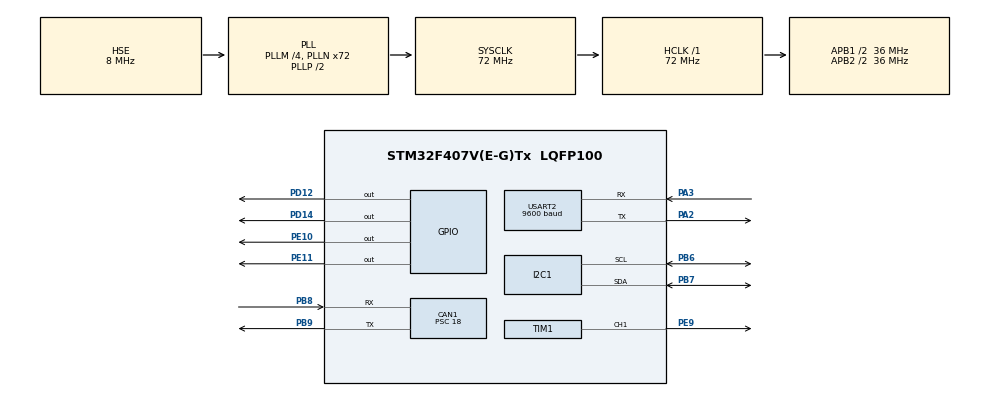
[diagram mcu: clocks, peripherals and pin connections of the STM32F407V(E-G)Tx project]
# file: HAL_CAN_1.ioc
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CAN1.BS1=CAN_BS1_2TQ
CAN1.CalculateBaudRate=500000
CAN1.CalculateTimeBit=2000
CAN1.CalculateTimeQuantum=500.0
CAN1.Prescaler=18
Mcu.Family=STM32F4
Mcu.Name=STM32F407V(E-G)Tx
Mcu.Package=LQFP100
NVIC.CAN1_RX0_IRQn=true\:0\:0\:false\:false\:true\:true\:true\:true
NVIC.PriorityGroup=NVIC_PRIORITYGROUP_0
PA2.Mode=Asynchronous
PA2.Signal=USART2_TX
PA3.Mode=Asynchronous
PA3.Signal=USART2_RX
PB6.Mode=I2C
PB6.Signal=I2C1_SCL
PB7.Mode=I2C
PB7.Signal=I2C1_SDA
PB8.Mode=CAN_Activate
PB8.Signal=CAN1_RX
PB9.Mode=CAN_Activate
PB9.Signal=CAN1_TX
PD12.Signal=GPIO_Output
PD14.Signal=GPIO_Output
PE10.Signal=GPIO_Output
PE11.Signal=GPIO_Output
PE9.Signal=S_TIM1_CH1
PH0-OSC_IN.Mode=HSE-External-Oscillator
PH0-OSC_IN.Signal=RCC_OSC_IN
PH1-OSC_OUT.Mode=HSE-External-Oscillator
PH1-OSC_OUT.Signal=RCC_OSC_OUT
ProjectManager.HeapSize=0x200
ProjectManager.StackSize=0x400
ProjectManager.TargetToolchain=STM32CubeIDE
RCC.48MHZClocksFreq_Value=20571428.57142857
RCC.AHBFreq_Value=72000000
RCC.APB1CLKDivider=RCC_HCLK_DIV2
RCC.APB1Freq_Value=36000000
RCC.APB1TimFreq_Value=72000000
RCC.APB2CLKDivider=RCC_HCLK_DIV2
RCC.APB2Freq_Value=36000000
RCC.APB2TimFreq_Value=72000000
RCC.CortexFreq_Value=72000000
RCC.HCLKFreq_Value=72000000
RCC.HSE_VALUE=8000000
RCC.HSI_VALUE=16000000
RCC.LSE_VALUE=32768
RCC.PLLM=4
RCC.PLLN=72
RCC.PLLQ=7
RCC.PLLSourceVirtual=RCC_PLLSOURCE_HSE
RCC.SYSCLKFreq_VALUE=72000000
RCC.SYSCLKSource=RCC_SYSCLKSOURCE_PLLCLK
RCC.VCOOutputFreq_Value=144000000
SH.S_TIM1_CH1.0=TIM1_CH1,PWM Generation1 CH1
TIM1.AutoReloadPreload=TIM_AUTORELOAD_PRELOAD_ENABLE
TIM1.Channel-PWM\ Generation1\ CH1=TIM_CHANNEL_1
TIM1.Period=100-1
TIM1.Prescaler=16-1
USART2.BaudRate=9600
USART2.VirtualMode=VM_ASYNC
board=STM32F407G-DISC1

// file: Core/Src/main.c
/* USER CODE BEGIN Header */
/**
  ******************************************************************************
  * @file           : main.c
  * @brief          : Main program body
  ******************************************************************************
  * @attention
  *
  * Copyright (c) 2024 STMicroelectronics.
  * All rights reserved.
  *
  * This software is licensed under terms that can be found in the LICENSE file
  * in the root directory of this software component.
  * If no LICENSE file comes with this software, it is provided AS-IS.
  *
  ******************************************************************************
  */
/* USER CODE END Header */
#include "main.h"

/* USER CODE BEGIN Includes */
#include<stdio.h>
#include<string.h>
#include "lcd.h"

/* USER CODE END Includes */

/* USER CODE BEGIN PD */
#define FORWARD 1
#define BACKWARD 0
#define MIN_DIST 5
#define MAX_DIST 100
#define MIN_SPEED 70
#define MAX_SPEED 100
/* USER CODE END PD */

CAN_HandleTypeDef hcan1;

I2C_HandleTypeDef hi2c1;

TIM_HandleTypeDef htim1;

UART_HandleTypeDef huart2;

void SystemClock_Config(void);
static void MX_GPIO_Init(void);
static void MX_CAN1_Init(void);
static void MX_TIM1_Init(void);
static void MX_USART2_UART_Init(void);
static void MX_I2C1_Init(void);
/* USER CODE BEGIN PFP */
void MotorStart(uint16_t direction);
void MotorStop(void);
void SetMotorSpeed(uint16_t distance);
/* USER CODE END PFP */

/* USER CODE BEGIN 0 */
CAN_RxHeaderTypeDef RxHeader;
uint8_t RxData[8];
uint8_t is_data_received;
uint16_t distance;
uint16_t speed;

void HAL_CAN_RxFifo0MsgPendingCallback(CAN_HandleTypeDef *hcan)
{
	if(HAL_CAN_GetRxMessage(hcan, CAN_RX_FIFO0, &RxHeader, RxData) == HAL_OK)
	{
		// process the message
        if (RxHeader.DLC == 5) {
        	is_data_received = 1;
        }
	}
}

void SetMotorSpeed(uint16_t distance)
{
	speed = MIN_SPEED + ((distance - MIN_DIST) * (MAX_SPEED - MIN_SPEED) / (MAX_DIST - MIN_DIST));
	//speed = ((distance - MIN_DIST)/(MAX_DIST - MIN_DIST)) * 100;
	if(speed > MAX_SPEED)
	    speed = MAX_SPEED;
	//uint16_t pulsewidth  = (htim1.Init.Period + 1) * speed / 100;
	//__HAL_TIM_SET_COMPARE(&htim1, TIM_CHANNEL_1, speed);
	htim1.Instance->CCR1 = speed;
	MotorStart(FORWARD);
	HAL_Delay(3000);
}

void MotorStart(uint16_t direction)
{
	if(direction == FORWARD)
	{
		HAL_GPIO_WritePin(GPIOE, GPIO_PIN_10, GPIO_PIN_SET);
		HAL_GPIO_WritePin(GPIOE, GPIO_PIN_11, GPIO_PIN_RESET);
	}
	else if(direction == BACKWARD)
	{
		HAL_GPIO_WritePin(GPIOE, GPIO_PIN_10, GPIO_PIN_RESET);
		HAL_GPIO_WritePin(GPIOE, GPIO_PIN_11, GPIO_PIN_SET);
	}
}

void MotorStop(void)
{
	HAL_GPIO_WritePin(GPIOE, GPIO_PIN_10, GPIO_PIN_RESET);
	HAL_GPIO_WritePin(GPIOE, GPIO_PIN_11, GPIO_PIN_RESET);
}

/* USER CODE END 0 */

int main(void)
{

  /* USER CODE BEGIN 1 */
	 char str[64];
	 char *str2 = "This is UART\r\n";
  /* USER CODE END 1 */

  /* MCU Configuration--------------------------------------------------------*/

  /* Reset of all peripherals, Initializes the Flash interface and the Systick. */
  HAL_Init();

  /* Configure the system clock */
  SystemClock_Config();

  /* Initialize all configured peripherals */
  MX_GPIO_Init();
  MX_CAN1_Init();
  MX_TIM1_Init();
  MX_USART2_UART_Init();
  MX_I2C1_Init();

  /* USER CODE BEGIN 2 */
  HAL_CAN_Start(&hcan1);
  HAL_CAN_ActivateNotification(&hcan1, CAN_IT_RX_FIFO0_MSG_PENDING);
  HAL_TIM_PWM_Start(&htim1, TIM_CHANNEL_1);
  HAL_UART_Transmit(&huart2, (uint8_t *)str2, strlen(str2), HAL_MAX_DELAY);
  LcdInit();
  HAL_Delay(100);
  /* USER CODE END 2 */

  /* Infinite loop */
  while (1)
  {

    /* USER CODE BEGIN 3 */
	 if(is_data_received == 1)
	 {
		 HAL_GPIO_WritePin(GPIOD, GPIO_PIN_14, GPIO_PIN_RESET);
          HAL_GPIO_WritePin(GPIOD, GPIO_PIN_12, GPIO_PIN_SET);
          distance = (uint16_t)RxData[0] << 8 | (uint16_t)RxData[1];

          sprintf(str, "Distance : %d cm \r\n", distance);
      	  HAL_UART_Transmit(&huart2, (uint8_t *)str, strlen(str), HAL_MAX_DELAY);
      	  uint16_t adc_value= (uint16_t)RxData[4] << 8 | (uint16_t)RxData[3];
      	                   float voltage = (adc_value * 3.3f) / 4095.0f;
      	                   float temperature = voltage / 0.01f;
      	                   int temp_int = (int)(temperature * 100);  // e.g., 26.52°C → 2652
      	                   int whole = temp_int / 100;        // 26
      	                   int frac = temp_int % 100;
      	                   sprintf(str, "tempreture : %d  \r\n",whole);

      	                   HAL_UART_Transmit(&huart2, (uint8_t *)str, strlen(str), HAL_MAX_DELAY);

      	                   uint8_t rain =RxData[4];

      	                   if(rain==0)
      	                   {	  strcpy(str,"whether is rainy\r\n");
      	                   HAL_UART_Transmit(&huart2, (uint8_t *)str, strlen(str), HAL_MAX_DELAY);
      	                   }
      	                   else
      	                   {	  strcpy(str,"whether is clean\r\n");
      	                             HAL_UART_Transmit(&huart2, (uint8_t *)str, strlen(str), HAL_MAX_DELAY);
      	                             }
          if(distance > 100)
          {
        	  distance = 100;
        	  SetMotorSpeed(distance);
          }
          else if(distance <= 100 && distance > 5)
          {
        	  SetMotorSpeed(distance);
          }
          else
          {
        	  HAL_GPIO_WritePin(GPIOD, GPIO_PIN_12, GPIO_PIN_RESET);
        	  HAL_GPIO_WritePin(GPIOD, GPIO_PIN_14, GPIO_PIN_SET);
        	  MotorStop();
          }
          HAL_GPIO_WritePin(GPIOD, GPIO_PIN_12, GPIO_PIN_RESET);

          HAL_Delay(1000);
	 }
	 is_data_received = 0;
  }
  /* USER CODE END 3 */
}

void SystemClock_Config(void)
{
  RCC_OscInitTypeDef RCC_OscInitStruct = {0};
  RCC_ClkInitTypeDef RCC_ClkInitStruct = {0};

  /** Configure the main internal regulator output voltage
  */
  __HAL_RCC_PWR_CLK_ENABLE();
  __HAL_PWR_VOLTAGESCALING_CONFIG(PWR_REGULATOR_VOLTAGE_SCALE1);

  /** Initializes the RCC Oscillators according to the specified parameters
  * in the RCC_OscInitTypeDef structure.
  */
  RCC_OscInitStruct.OscillatorType = RCC_OSCILLATORTYPE_HSE;
  RCC_OscInitStruct.HSEState = RCC_HSE_ON;
  RCC_OscInitStruct.PLL.PLLState = RCC_PLL_ON;
  RCC_OscInitStruct.PLL.PLLSource = RCC_PLLSOURCE_HSE;
  RCC_OscInitStruct.PLL.PLLM = 4;
  RCC_OscInitStruct.PLL.PLLN = 72;
  RCC_OscInitStruct.PLL.PLLP = RCC_PLLP_DIV2;
  RCC_OscInitStruct.PLL.PLLQ = 7;
  if (HAL_RCC_OscConfig(&RCC_OscInitStruct) != HAL_OK)
  {
    Error_Handler();
  }

  /** Initializes the CPU, AHB and APB buses clocks
  */
  RCC_ClkInitStruct.ClockType = RCC_CLOCKTYPE_HCLK|RCC_CLOCKTYPE_SYSCLK
                              |RCC_CLOCKTYPE_PCLK1|RCC_CLOCKTYPE_PCLK2;
  RCC_ClkInitStruct.SYSCLKSource = RCC_SYSCLKSOURCE_PLLCLK;
  RCC_ClkInitStruct.AHBCLKDivider = RCC_SYSCLK_DIV1;
  RCC_ClkInitStruct.APB1CLKDivider = RCC_HCLK_DIV2;
  RCC_ClkInitStruct.APB2CLKDivider = RCC_HCLK_DIV2;

  if (HAL_RCC_ClockConfig(&RCC_ClkInitStruct, FLASH_LATENCY_2) != HAL_OK)
  {
    Error_Handler();
  }
}

static void MX_CAN1_Init(void)
{

  hcan1.Instance = CAN1;
  hcan1.Init.Prescaler = 18;
  hcan1.Init.Mode = CAN_MODE_NORMAL;
  hcan1.Init.SyncJumpWidth = CAN_SJW_1TQ;
  hcan1.Init.TimeSeg1 = CAN_BS1_2TQ;
  hcan1.Init.TimeSeg2 = CAN_BS2_1TQ;
  hcan1.Init.TimeTriggeredMode = DISABLE;
  hcan1.Init.AutoBusOff = DISABLE;
  hcan1.Init.AutoWakeUp = DISABLE;
  hcan1.Init.AutoRetransmission = DISABLE;
  hcan1.Init.ReceiveFifoLocked = DISABLE;
  hcan1.Init.TransmitFifoPriority = DISABLE;
  if (HAL_CAN_Init(&hcan1) != HAL_OK)
  {
    Error_Handler();
  }
  /* USER CODE BEGIN CAN1_Init 2 */
  CAN_FilterTypeDef FilterConfig;
  //FilterConfig.SlaveStartFilterBank = 9; // CAN1-0 to 8, CAN2-9 to 27
  FilterConfig.FilterActivation = CAN_FILTER_ENABLE;
  FilterConfig.FilterBank = 0; // Use any Filter from 0 to 8
  FilterConfig.FilterScale = CAN_FILTERSCALE_32BIT; // Use a 32-bit filter
  FilterConfig.FilterMode = CAN_FILTERMODE_IDMASK;
  FilterConfig.FilterMaskIdHigh = 0xFF00;
  FilterConfig.FilterMaskIdLow = 0x0000;
  FilterConfig.FilterIdHigh = 0x1500;
  FilterConfig.FilterIdLow = 0x0000;
  FilterConfig.FilterFIFOAssignment = CAN_RX_FIFO0;

  if(HAL_CAN_ConfigFilter(&hcan1, &FilterConfig) != HAL_OK)
	  Error_Handler();
  /* USER CODE END CAN1_Init 2 */

}

static void MX_I2C1_Init(void)
{

  hi2c1.Instance = I2C1;
  hi2c1.Init.ClockSpeed = 100000;
  hi2c1.Init.DutyCycle = I2C_DUTYCYCLE_2;
  hi2c1.Init.OwnAddress1 = 0;
  hi2c1.Init.AddressingMode = I2C_ADDRESSINGMODE_7BIT;
  hi2c1.Init.DualAddressMode = I2C_DUALADDRESS_DISABLE;
  hi2c1.Init.OwnAddress2 = 0;
  hi2c1.Init.GeneralCallMode = I2C_GENERALCALL_DISABLE;
  hi2c1.Init.NoStretchMode = I2C_NOSTRETCH_DISABLE;
  if (HAL_I2C_Init(&hi2c1) != HAL_OK)
  {
    Error_Handler();
  }

}

static void MX_TIM1_Init(void)
{

  TIM_MasterConfigTypeDef sMasterConfig = {0};
  TIM_OC_InitTypeDef sConfigOC = {0};
  TIM_BreakDeadTimeConfigTypeDef sBreakDeadTimeConfig = {0};

  htim1.Instance = TIM1;
  htim1.Init.Prescaler = 16-1;
  htim1.Init.CounterMode = TIM_COUNTERMODE_UP;
  htim1.Init.Period = 100-1;
  htim1.Init.ClockDivision = TIM_CLOCKDIVISION_DIV1;
  htim1.Init.RepetitionCounter = 0;
  htim1.Init.AutoReloadPreload = TIM_AUTORELOAD_PRELOAD_ENABLE;
  if (HAL_TIM_PWM_Init(&htim1) != HAL_OK)
  {
    Error_Handler();
  }
  sMasterConfig.MasterOutputTrigger = TIM_TRGO_RESET;
  sMasterConfig.MasterSlaveMode = TIM_MASTERSLAVEMODE_DISABLE;
  if (HAL_TIMEx_MasterConfigSynchronization(&htim1, &sMasterConfig) != HAL_OK)
  {
    Error_Handler();
  }
  sConfigOC.OCMode = TIM_OCMODE_PWM1;
  sConfigOC.Pulse = 0;
  sConfigOC.OCPolarity = TIM_OCPOLARITY_HIGH;
  sConfigOC.OCNPolarity = TIM_OCNPOLARITY_HIGH;
  sConfigOC.OCFastMode = TIM_OCFAST_DISABLE;
  sConfigOC.OCIdleState = TIM_OCIDLESTATE_RESET;
  sConfigOC.OCNIdleState = TIM_OCNIDLESTATE_RESET;
  if (HAL_TIM_PWM_ConfigChannel(&htim1, &sConfigOC, TIM_CHANNEL_1) != HAL_OK)
  {
    Error_Handler();
  }
  sBreakDeadTimeConfig.OffStateRunMode = TIM_OSSR_DISABLE;
  sBreakDeadTimeConfig.OffStateIDLEMode = TIM_OSSI_DISABLE;
  sBreakDeadTimeConfig.LockLevel = TIM_LOCKLEVEL_OFF;
  sBreakDeadTimeConfig.DeadTime = 0;
  sBreakDeadTimeConfig.BreakState = TIM_BREAK_DISABLE;
  sBreakDeadTimeConfig.BreakPolarity = TIM_BREAKPOLARITY_HIGH;
  sBreakDeadTimeConfig.AutomaticOutput = TIM_AUTOMATICOUTPUT_DISABLE;
  if (HAL_TIMEx_ConfigBreakDeadTime(&htim1, &sBreakDeadTimeConfig) != HAL_OK)
  {
    Error_Handler();
  }
  HAL_TIM_MspPostInit(&htim1);

}

static void MX_USART2_UART_Init(void)
{

  huart2.Instance = USART2;
  huart2.Init.BaudRate = 9600;
  huart2.Init.WordLength = UART_WORDLENGTH_8B;
  huart2.Init.StopBits = UART_STOPBITS_1;
  huart2.Init.Parity = UART_PARITY_NONE;
  huart2.Init.Mode = UART_MODE_TX_RX;
  huart2.Init.HwFlowCtl = UART_HWCONTROL_NONE;
  huart2.Init.OverSampling = UART_OVERSAMPLING_16;
  if (HAL_UART_Init(&huart2) != HAL_OK)
  {
    Error_Handler();
  }

}

static void MX_GPIO_Init(void)
{
  GPIO_InitTypeDef GPIO_InitStruct = {0};

  /* GPIO Ports Clock Enable */
  __HAL_RCC_GPIOH_CLK_ENABLE();
  __HAL_RCC_GPIOA_CLK_ENABLE();
  __HAL_RCC_GPIOE_CLK_ENABLE();
  __HAL_RCC_GPIOD_CLK_ENABLE();
  __HAL_RCC_GPIOB_CLK_ENABLE();

  /*Configure GPIO pin Output Level */
  HAL_GPIO_WritePin(GPIOE, GPIO_PIN_10|GPIO_PIN_11, GPIO_PIN_RESET);

  /*Configure GPIO pin Output Level */
  HAL_GPIO_WritePin(GPIOD, GPIO_PIN_12|GPIO_PIN_14, GPIO_PIN_RESET);

  /*Configure GPIO pins : PE10 PE11 */
  GPIO_InitStruct.Pin = GPIO_PIN_10|GPIO_PIN_11;
  GPIO_InitStruct.Mode = GPIO_MODE_OUTPUT_PP;
  GPIO_InitStruct.Pull = GPIO_NOPULL;
  GPIO_InitStruct.Speed = GPIO_SPEED_FREQ_LOW;
  HAL_GPIO_Init(GPIOE, &GPIO_InitStruct);

  /*Configure GPIO pins : PD12 PD14 */
  GPIO_InitStruct.Pin = GPIO_PIN_12|GPIO_PIN_14;
  GPIO_InitStruct.Mode = GPIO_MODE_OUTPUT_PP;
  GPIO_InitStruct.Pull = GPIO_NOPULL;
  GPIO_InitStruct.Speed = GPIO_SPEED_FREQ_LOW;
  HAL_GPIO_Init(GPIOD, &GPIO_InitStruct);

}

void Error_Handler(void)
{
  __disable_irq();
  while (1)
  {
  }
}
